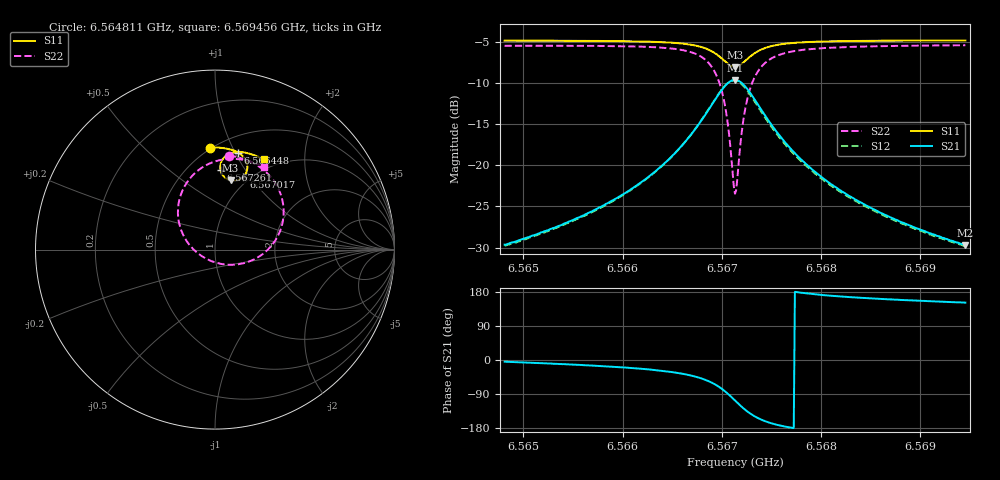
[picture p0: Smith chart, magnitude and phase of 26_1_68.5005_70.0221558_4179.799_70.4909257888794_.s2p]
#  HZ  S  RI  R  50.00
! Rohde & Schwarz Vector Network Analyzer
! Rohde-Schwarz,ZNB20-2Port,1311601062101988,3.16
! Created: UTC 3/20/2024, 4:49:43 PM
! freq[Hz]  re:S11  im:S11  re:S21  im:S21  re:S12  im:S12  re:S22  im:S22
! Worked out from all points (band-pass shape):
!   401 points, 6.564811 GHz to 6.569456 GHz, reference 50 ohm
!   highest |S21| = -9.66 dB at 6.567133 GHz (marker M1); lowest = -29.7 dB at 6.569456 GHz (marker M2)
!   |S21| within 3 dB of the highest: 6.5669 GHz to 6.567365 GHz (464.7 kHz wide, 0.00708 % of centre)
!   lowest |S11| = -8.1 dB at 6.567133 GHz (marker M3), VSWR 2.30, Z = 43 + j39.2 ohm
!   |S11| at or under -10 dB: nowhere
!   |S22| runs from -23.5 to -5.4 dB; largest |S21 - S12| = 0.018
!   S11 on the Smith chart (normalised r, x): 6.564811 GHz: 0.49, +0.83; 6.566448 GHz: 0.66, +1.03; 6.567017 GHz: 0.93, +0.93; 6.567261 GHz: 0.71, +0.78; 6.569456 GHz: 0.86, +1.28
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6.5648112e9  -0.026 0.5688  0.0329 -0.00255  0.0323 -0.00303  0.0788 0.524
6.5655891e9  0.04 0.5666  0.0478 -0.0111  0.047 -0.012  0.16 0.5049
6.5660071e9  0.0794 0.5597  0.0628 -0.0224  0.0619 -0.0231  0.216 0.4806
6.566367e9  0.1186 0.546  0.0848 -0.0444  0.0837 -0.0455  0.2812 0.4351
6.5664483e9  0.1286 0.5407  0.0916 -0.0533  0.0904 -0.0545  0.2993 0.4176
6.5666805e9  0.1596 0.5151  0.1148 -0.0976  0.113 -0.0999  0.3574 0.3305
6.5668431e9  0.1783 0.477  0.1236 -0.1651  0.1201 -0.1691  0.3823 0.2002
6.5669476e9  0.1765 0.4364  0.1017 -0.2366  0.0947 -0.2417  0.3435 0.0637
6.5670172e9  0.158 0.405  0.0543 -0.2898  0.0426 -0.2935  0.2533 -0.0339
6.5670521e9  0.1408 0.3922  0.0167 -0.3105  0.00258 -0.3121  0.1821 -0.0691
6.5671101e9  0.103 0.3827  -0.0621 -0.3215  -0.0781 -0.3167  0.0373 -0.0802
6.5671333e9  0.0868 0.385  -0.0952 -0.315  -0.1105 -0.3072  -0.0211 -0.0637
6.5671566e9  0.0715 0.3904  -0.1261 -0.3018  -0.1403 -0.2917  -0.0744 -0.0359
6.5672146e9  0.042 0.4161  -0.1851 -0.249  -0.1935 -0.2346  -0.1697 0.067
6.5672611e9  0.031 0.4418  -0.2089 -0.1985  -0.2124 -0.1838  -0.2022 0.1594
6.567354e9  0.0341 0.4861  -0.2103 -0.1126  -0.208 -0.1014  -0.1892 0.309
6.5674933e9  0.0616 0.5228  -0.1735 -0.0416  -0.1695 -0.0355  -0.1102 0.4277
6.5676558e9  0.0935 0.539  -0.1336 -0.0078  -0.13 -0.00465  -0.0272 0.481
6.5679113e9  0.1325 0.544  -0.0936 0.00972  -0.0913 0.0112  0.0602 0.504
6.5682364e9  0.17 0.5398  -0.0662 0.0154  -0.0645 0.0161  0.1301 0.5041
6.5686892e9  0.212 0.5282  -0.0457 0.0167  -0.0445 0.0169  0.1948 0.4911
6.5694555e9  0.2717 0.5023  -0.0288 0.0157  -0.0281 0.0158  0.2707 0.4604
